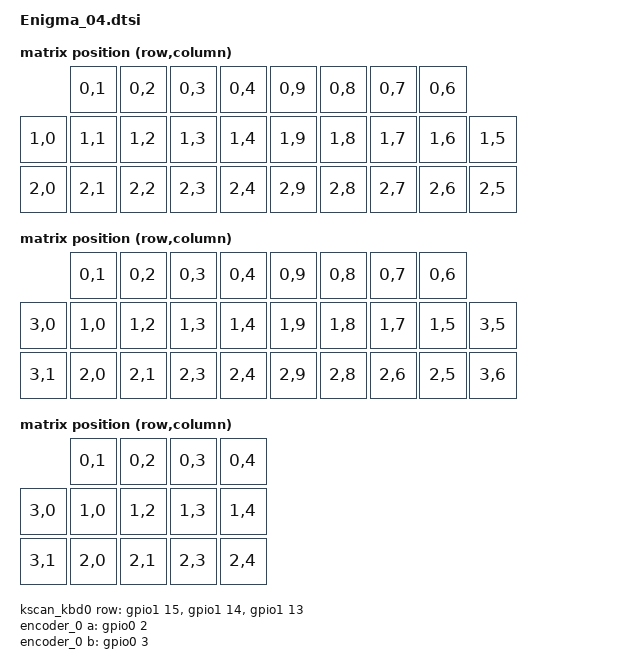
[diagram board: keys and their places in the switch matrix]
#include <dt-bindings/zmk/matrix_transform.h>

/ {
    chosen {
        zmk,studio-rpc = &studio_usb;
    };
  
    transform_kbd0: transform_kbd0 {
        compatible = "zmk,matrix-transform";
        columns = <10>;
        rows = <3>;               
        map = <
                    RC(0,1) RC(0,2) RC(0,3) RC(0,4)     RC(0,9) RC(0,8) RC(0,7) RC(0,6)
            RC(1,0) RC(1,1) RC(1,2) RC(1,3) RC(1,4)     RC(1,9) RC(1,8) RC(1,7) RC(1,6) RC(1,5)
            RC(2,0) RC(2,1) RC(2,2) RC(2,3) RC(2,4)     RC(2,9) RC(2,8) RC(2,7) RC(2,6) RC(2,5)
        >;
    };

    transform_kbd1: transform_kbd1 {
        compatible = "zmk,matrix-transform";
        columns = <10>;
        rows = <4>;               
        map = <
                    RC(0,1) RC(0,2) RC(0,3) RC(0,4)       RC(0,9) RC(0,8) RC(0,7) RC(0,6)
            RC(3,0) RC(1,0) RC(1,2) RC(1,3) RC(1,4)       RC(1,9) RC(1,8) RC(1,7) RC(1,5) RC(3,5)
            RC(3,1) RC(2,0) RC(2,1) RC(2,3) RC(2,4)       RC(2,9) RC(2,8) RC(2,6) RC(2,5) RC(3,6)
        >;
    };

    kscan_kbd0: kscan_kbd0 {
        compatible = "zmk,kscan-gpio-matrix";
        diode-direction = "row2col";
            row-gpios
                = <&gpio1 15 (GPIO_ACTIVE_HIGH | GPIO_PULL_DOWN)>,
                  <&gpio1 14 (GPIO_ACTIVE_HIGH | GPIO_PULL_DOWN)>,
                  <&gpio1 13 (GPIO_ACTIVE_HIGH | GPIO_PULL_DOWN)>;
    };

    kscan_kbd1: kscan_kbd1 {
        compatible = "zmk,kscan-gpio-charlieplex";
        interrupt-gpios = <&gpio1 11 (GPIO_ACTIVE_HIGH | GPIO_PULL_DOWN)>;
    };

    transform_tbm0: transform_tbm0 {
        compatible = "zmk,matrix-transform";
        columns = <5>;
        rows = <4>;               
        map = <
                  RC(0,1) RC(0,2) RC(0,3) RC(0,4)
          RC(3,0) RC(1,0) RC(1,2) RC(1,3) RC(1,4)
          RC(3,1) RC(2,0) RC(2,1) RC(2,3) RC(2,4)
        >;
    };

    transform_tbm1: transform_tbm1 {
        compatible = "zmk,matrix-transform";
        columns = <5>;
        rows = <4>;               
        map = <
                  RC(0,1)                 RC(0,4)
          RC(3,0) RC(1,0)                 RC(1,4)
          RC(3,1) RC(2,0) RC(2,1) RC(2,3) RC(2,4)
        >;
    };

    transform_tbm2: transform_tbm2 {
        compatible = "zmk,matrix-transform";
        columns = <5>;
        rows = <4>;               
        map = <
            RC(0,4) RC(0,3) RC(0,2) RC(0,1)
            RC(1,4) RC(1,3) RC(1,2) RC(1,0) RC(3,0)
            RC(2,4) RC(2,3) RC(2,1) RC(2,0) RC(3,1)
        >;
    };

    transform_tbm3: transform_tbm3 {
        compatible = "zmk,matrix-transform";
        columns = <5>;
        rows = <4>;               
        map = <
            RC(0,4)                 RC(0,1)
            RC(1,4)                 RC(1,0) RC(3,0)
            RC(2,4) RC(2,3) RC(2,1) RC(2,0) RC(3,1)
        >;
    };

    kscan_tbm0: kscan_tbm0 {
        compatible = "zmk,kscan-gpio-charlieplex";
        interrupt-gpios = <&gpio (GPIO_ACTIVE_HIGH | GPIO_PULL_DOWN)>;
                gpios = <&gpio1 15 GPIO_ACTIVE_HIGH>,
                <&gpio1 12 GPIO_ACTIVE_HIGH>,
                <&gpio0 9 GPIO_ACTIVE_HIGH>,
                <&gpio0 10 GPIO_ACTIVE_HIGH>,
                <&gpio0 29 GPIO_ACTIVE_HIGH>;
    };

    studio_usb: studio_usb {
        compatible = "zmk,studio-rpc-usb-uart";
    };

    encoder_0: encoder_0 {
        compatible = "alps,ec11";
        a-gpios = <&gpio0 2 (GPIO_ACTIVE_HIGH | GPIO_PULL_UP)>;
        b-gpios = <&gpio0 3 (GPIO_ACTIVE_HIGH | GPIO_PULL_UP)>;
        steps = <24>;
        status = "disabled";
    };

    sensors_0: sensors_0 {
        compatible = "zmk,keymap-sensors";
        sensors = <&encoder_0>;
        triggers-per-rotation = <12>;
    };
};
